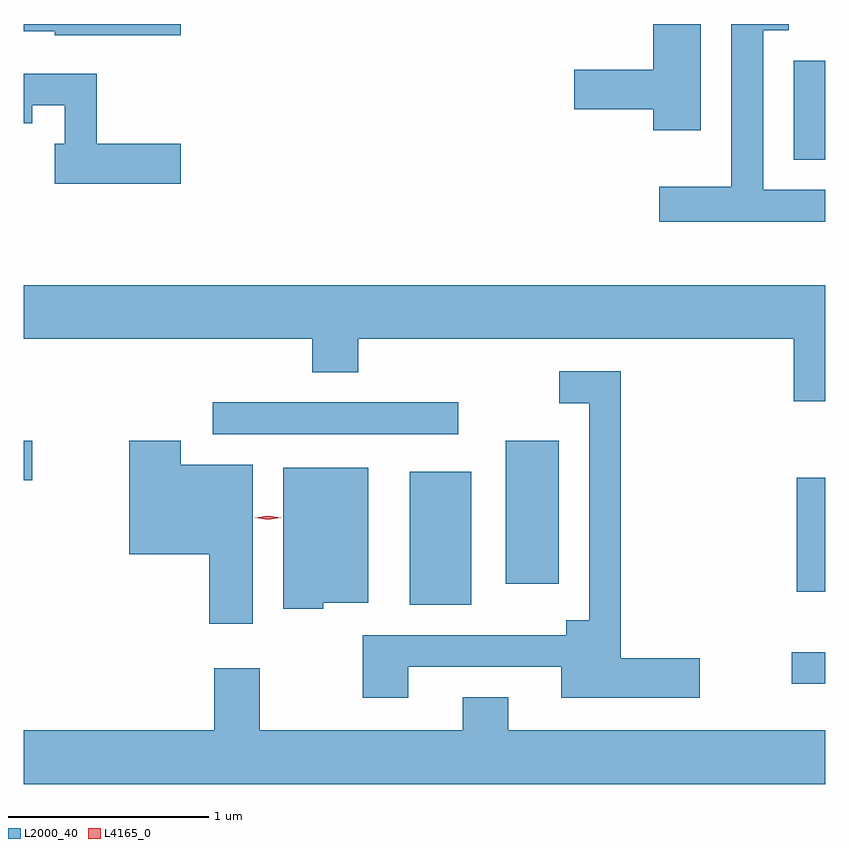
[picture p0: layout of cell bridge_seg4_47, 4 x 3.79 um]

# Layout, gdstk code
import gdstk
lib = gdstk.Library(unit=1e-6, precision=1e-09)
def R(c, l, rs):  # rectangles x0, y0, x1, y1
    for r in rs: c.add(gdstk.rectangle(r[:2], r[2:], *l))
def P(c, l, *ps):  # polygons
    for p in ps: c.add(gdstk.Polygon(p, *l))
L2000_40 = (2000, 40)
L4165_0 = (4165, 0)

bridge_seg4_47 = lib.new_cell('bridge_seg4_47')
R(bridge_seg4_47, L2000_40, [(1270.113,1301.896,1270.28,1302.054), (1268.206,1302.291,1268.514,1302.954), (1270.136,1302.356,1270.28,1302.924), (1268.686,1302.396,1268.949,1303.109), (1266.28,1302.911,1266.324,1303.109), (1267.223,1303.141,1268.448,1303.299), (1270.121,1304.511,1270.28,1305.004)])
P(bridge_seg4_47, L2000_40, [(1267.064,1305.187),(1266.28,1305.187),(1266.28,1305.151),(1266.436,1305.151),(1266.436,1305.131),(1267.064,1305.131)],
  [(1269.659,1305.187),(1269.421,1305.187),(1269.421,1304.959),(1269.026,1304.959),(1269.026,1304.761),(1269.421,1304.761),(1269.421,1304.656),(1269.659,1304.656)],
  [(1270.28,1304.359),(1269.969,1304.359),(1269.969,1305.156),(1270.098,1305.156),(1270.098,1305.187),(1269.811,1305.187),(1269.811,1304.374),(1269.451,1304.374),(1269.451,1304.201),(1270.28,1304.201)],
  [(1267.064,1304.589),(1266.644,1304.589),(1266.644,1304.939),(1266.28,1304.939),(1266.28,1304.691),(1266.324,1304.691),(1266.324,1304.781),(1266.486,1304.781),(1266.486,1304.589),(1266.436,1304.589),(1266.436,1304.391),(1267.064,1304.391)],
  [(1270.28,1303.884),(1266.28,1303.884),(1266.28,1303.616),(1267.721,1303.616),(1267.721,1303.451),(1267.949,1303.451),(1267.949,1303.616),(1270.121,1303.616),(1270.121,1303.306),(1270.28,1303.306)],
  [(1268.199,1301.981),(1268.961,1301.981),(1268.961,1301.826),(1269.654,1301.826),(1269.654,1302.024),(1269.259,1302.024),(1269.259,1303.454),(1268.953,1303.454),(1268.953,1303.296),(1269.101,1303.296),(1269.101,1302.214),(1268.986,1302.214),(1268.986,1302.139),(1267.971,1302.139),(1267.971,1301.826),(1268.199,1301.826)],
  [(1267.424,1302.989),(1267.064,1302.989),(1267.064,1303.109),(1266.806,1303.109),(1266.806,1302.541),(1267.206,1302.541),(1267.206,1302.196),(1267.424,1302.196)],
  [(1267.774,1302.301),(1267.999,1302.301),(1267.999,1302.974),(1267.576,1302.974),(1267.576,1302.271),(1267.774,1302.271)],
  [(1270.28,1301.664),(1268.699,1301.664),(1268.699,1301.829),(1268.471,1301.829),(1268.471,1301.664),(1267.459,1301.664),(1267.459,1301.974),(1267.231,1301.974),(1267.231,1301.664),(1266.28,1301.664),(1266.28,1301.396),(1270.28,1301.396)])
P(bridge_seg4_47, L4165_0, [(1267.5,1302.714),(1267.434,1302.724),(1267.433,1302.724),(1267.434,1302.725),(1267.5,1302.734),(1267.566,1302.724),(1267.566,1302.724),(1267.566,1302.724)])

lib.write_gds('bridge_seg4_47.gds')
